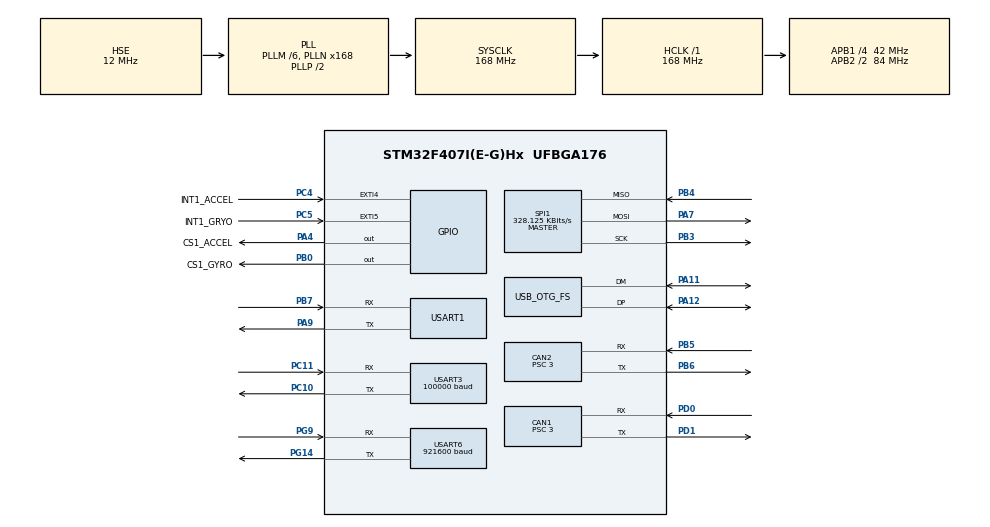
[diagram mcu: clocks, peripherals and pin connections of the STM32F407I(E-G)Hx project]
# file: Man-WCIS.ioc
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CAN1.ABOM=ENABLE
CAN1.AWUM=ENABLE
CAN1.BS1=CAN_BS1_9TQ
CAN1.BS2=CAN_BS2_4TQ
CAN1.CalculateBaudRate=1000000
CAN1.CalculateTimeBit=1000
CAN1.CalculateTimeQuantum=71.42857142857143
CAN1.Prescaler=3
CAN2.ABOM=ENABLE
CAN2.AWUM=ENABLE
CAN2.BS1=CAN_BS1_9TQ
CAN2.BS2=CAN_BS2_4TQ
CAN2.CalculateBaudRate=1000000
CAN2.CalculateTimeBit=1000
CAN2.CalculateTimeQuantum=71.42857142857143
CAN2.Prescaler=3
Dma.Request0=SPI1_RX
Dma.Request1=SPI1_TX
Dma.Request2=USART3_RX
Dma.Request3=USART6_RX
Dma.Request4=USART6_TX
Dma.Request5=USART1_RX
Dma.Request6=USART1_TX
Dma.SPI1_RX.0.Direction=DMA_PERIPH_TO_MEMORY
Dma.SPI1_RX.0.FIFOMode=DMA_FIFOMODE_DISABLE
Dma.SPI1_RX.0.Instance=DMA2_Stream2
Dma.SPI1_RX.0.MemDataAlignment=DMA_MDATAALIGN_BYTE
Dma.SPI1_RX.0.MemInc=DMA_MINC_ENABLE
Dma.SPI1_RX.0.Mode=DMA_NORMAL
Dma.SPI1_RX.0.PeriphDataAlignment=DMA_PDATAALIGN_BYTE
Dma.SPI1_RX.0.PeriphInc=DMA_PINC_DISABLE
Dma.SPI1_RX.0.Priority=DMA_PRIORITY_VERY_HIGH
Dma.SPI1_TX.1.Direction=DMA_MEMORY_TO_PERIPH
Dma.SPI1_TX.1.FIFOMode=DMA_FIFOMODE_DISABLE
Dma.SPI1_TX.1.Instance=DMA2_Stream3
Dma.SPI1_TX.1.MemDataAlignment=DMA_MDATAALIGN_BYTE
Dma.SPI1_TX.1.MemInc=DMA_MINC_ENABLE
Dma.SPI1_TX.1.Mode=DMA_NORMAL
Dma.SPI1_TX.1.PeriphDataAlignment=DMA_PDATAALIGN_BYTE
Dma.SPI1_TX.1.PeriphInc=DMA_PINC_DISABLE
Dma.SPI1_TX.1.Priority=DMA_PRIORITY_HIGH
Dma.USART1_RX.5.Direction=DMA_PERIPH_TO_MEMORY
Dma.USART1_RX.5.FIFOMode=DMA_FIFOMODE_DISABLE
Dma.USART1_RX.5.Instance=DMA2_Stream5
Dma.USART1_RX.5.MemDataAlignment=DMA_MDATAALIGN_BYTE
Dma.USART1_RX.5.MemInc=DMA_MINC_ENABLE
Dma.USART1_RX.5.Mode=DMA_NORMAL
Dma.USART1_RX.5.PeriphDataAlignment=DMA_PDATAALIGN_BYTE
Dma.USART1_RX.5.PeriphInc=DMA_PINC_DISABLE
Dma.USART1_RX.5.Priority=DMA_PRIORITY_LOW
Dma.USART1_TX.6.Direction=DMA_MEMORY_TO_PERIPH
Dma.USART1_TX.6.FIFOMode=DMA_FIFOMODE_DISABLE
Dma.USART1_TX.6.Instance=DMA2_Stream7
Dma.USART1_TX.6.MemDataAlignment=DMA_MDATAALIGN_BYTE
Dma.USART1_TX.6.MemInc=DMA_MINC_ENABLE
Dma.USART1_TX.6.Mode=DMA_NORMAL
Dma.USART1_TX.6.PeriphDataAlignment=DMA_PDATAALIGN_BYTE
Dma.USART1_TX.6.PeriphInc=DMA_PINC_DISABLE
Dma.USART1_TX.6.Priority=DMA_PRIORITY_LOW
Dma.USART3_RX.2.Direction=DMA_PERIPH_TO_MEMORY
Dma.USART3_RX.2.FIFOMode=DMA_FIFOMODE_DISABLE
Dma.USART3_RX.2.Instance=DMA1_Stream1
Dma.USART3_RX.2.MemDataAlignment=DMA_MDATAALIGN_BYTE
Dma.USART3_RX.2.MemInc=DMA_MINC_ENABLE
Dma.USART3_RX.2.Mode=DMA_NORMAL
Dma.USART3_RX.2.PeriphDataAlignment=DMA_PDATAALIGN_BYTE
Dma.USART3_RX.2.PeriphInc=DMA_PINC_DISABLE
Dma.USART3_RX.2.Priority=DMA_PRIORITY_LOW
Dma.USART6_RX.3.Direction=DMA_PERIPH_TO_MEMORY
Dma.USART6_RX.3.FIFOMode=DMA_FIFOMODE_DISABLE
Dma.USART6_RX.3.Instance=DMA2_Stream1
Dma.USART6_RX.3.MemDataAlignment=DMA_MDATAALIGN_BYTE
Dma.USART6_RX.3.MemInc=DMA_MINC_ENABLE
Dma.USART6_RX.3.Mode=DMA_NORMAL
Dma.USART6_RX.3.PeriphDataAlignment=DMA_PDATAALIGN_BYTE
Dma.USART6_RX.3.PeriphInc=DMA_PINC_DISABLE
Dma.USART6_RX.3.Priority=DMA_PRIORITY_HIGH
Dma.USART6_TX.4.Direction=DMA_MEMORY_TO_PERIPH
Dma.USART6_TX.4.FIFOMode=DMA_FIFOMODE_DISABLE
Dma.USART6_TX.4.Instance=DMA2_Stream6
Dma.USART6_TX.4.MemDataAlignment=DMA_MDATAALIGN_BYTE
Dma.USART6_TX.4.MemInc=DMA_MINC_ENABLE
Dma.USART6_TX.4.Mode=DMA_NORMAL
Dma.USART6_TX.4.PeriphDataAlignment=DMA_PDATAALIGN_BYTE
Dma.USART6_TX.4.PeriphInc=DMA_PINC_DISABLE
Dma.USART6_TX.4.Priority=DMA_PRIORITY_HIGH
FREERTOS.Tasks01=INS_task,3,256,Start_INS_Task,As weak,NULL,Dynamic,NULL,NULL;Gimbal_Task,-3,256,Gimbal_Control,As weak,NULL,Dynamic,NULL,NULL;Shoot_Task,-3,256,Shoot_Control,As weak,NULL,Dynamic,NULL,NULL;Vision_Task,3,256,Vision_Control,As weak,NULL,Dynamic,NULL,NULL
FREERTOS.configMINIMAL_STACK_SIZE=256
Mcu.Family=STM32F4
Mcu.Name=STM32F407I(E-G)Hx
Mcu.Package=UFBGA176
NVIC.CAN1_RX0_IRQn=true\:5\:0\:false\:false\:true\:true\:true\:true\:true
NVIC.CAN1_RX1_IRQn=true\:5\:0\:false\:false\:true\:true\:true\:true\:true
NVIC.CAN1_TX_IRQn=true\:5\:0\:false\:false\:true\:true\:true\:true\:true
NVIC.CAN2_RX0_IRQn=true\:5\:0\:false\:false\:true\:true\:true\:true\:true
NVIC.CAN2_RX1_IRQn=true\:5\:0\:false\:false\:true\:true\:true\:true\:true
NVIC.CAN2_TX_IRQn=true\:5\:0\:false\:false\:true\:true\:true\:true\:true
NVIC.DMA1_Stream1_IRQn=true\:5\:0\:false\:false\:true\:true\:false\:true\:true
NVIC.DMA2_Stream1_IRQn=true\:5\:0\:false\:false\:true\:true\:false\:true\:true
NVIC.DMA2_Stream2_IRQn=true\:5\:0\:false\:false\:true\:false\:false\:true\:true
NVIC.DMA2_Stream3_IRQn=true\:5\:0\:false\:false\:true\:true\:false\:true\:true
NVIC.DMA2_Stream5_IRQn=true\:5\:0\:false\:false\:true\:true\:false\:true\:true
NVIC.DMA2_Stream6_IRQn=true\:5\:0\:false\:false\:true\:true\:false\:true\:true
NVIC.DMA2_Stream7_IRQn=true\:5\:0\:false\:false\:true\:true\:false\:true\:true
NVIC.EXTI4_IRQn=true\:5\:0\:false\:false\:true\:false\:true\:true\:true
NVIC.EXTI9_5_IRQn=true\:5\:0\:false\:false\:true\:false\:true\:true\:true
NVIC.OTG_FS_IRQn=true\:5\:0\:false\:false\:true\:true\:false\:true\:true
NVIC.PriorityGroup=NVIC_PRIORITYGROUP_4
NVIC.TIM6_DAC_IRQn=true\:5\:0\:false\:false\:true\:true\:true\:true\:true
NVIC.USART6_IRQn=true\:5\:0\:false\:false\:true\:true\:true\:true\:true
PA11.Mode=Device_Only
PA11.Signal=USB_OTG_FS_DM
PA12.Mode=Device_Only
PA12.Signal=USB_OTG_FS_DP
PA13.Mode=Serial_Wire
PA13.Signal=SYS_JTMS-SWDIO
PA14.Mode=Serial_Wire
PA14.Signal=SYS_JTCK-SWCLK
PA4.GPIO_Label=CS1_ACCEL
PA4.GPIO_PuPd=GPIO_PULLUP
PA4.GPIO_Speed=GPIO_SPEED_FREQ_HIGH
PA4.PinState=GPIO_PIN_SET
PA4.Signal=GPIO_Output
PA7.Mode=Full_Duplex_Master
PA7.Signal=SPI1_MOSI
PA9.Mode=Asynchronous
PA9.Signal=USART1_TX
PB0.GPIO_Label=CS1_GYRO
PB0.GPIO_PuPd=GPIO_PULLUP
PB0.GPIO_Speed=GPIO_SPEED_FREQ_HIGH
PB0.PinState=GPIO_PIN_SET
PB0.Signal=GPIO_Output
PB3.Mode=Full_Duplex_Master
PB3.Signal=SPI1_SCK
PB4.Mode=Full_Duplex_Master
PB4.Signal=SPI1_MISO
PB5.Mode=CAN_Activate
PB5.Signal=CAN2_RX
PB6.Mode=CAN_Activate
PB6.Signal=CAN2_TX
PB7.Mode=Asynchronous
PB7.Signal=USART1_RX
PC10.Mode=Asynchronous
PC10.Signal=USART3_TX
PC11.Mode=Asynchronous
PC11.Signal=USART3_RX
PC14-OSC32_IN.Mode=LSE-External-Oscillator
PC14-OSC32_IN.Signal=RCC_OSC32_IN
PC15-OSC32_OUT.Mode=LSE-External-Oscillator
PC15-OSC32_OUT.Signal=RCC_OSC32_OUT
PC4.GPIO_Label=INT1_ACCEL
PC4.GPIO_PuPd=GPIO_PULLUP
PC4.Signal=GPXTI4
PC5.GPIO_Label=INT1_GRYO
PC5.GPIO_PuPd=GPIO_PULLUP
PC5.Signal=GPXTI5
PD0.Mode=CAN_Activate
PD0.Signal=CAN1_RX
PD1.Mode=CAN_Activate
PD1.Signal=CAN1_TX
PG14.Mode=Asynchronous
PG14.Signal=USART6_TX
PG9.Mode=Asynchronous
PG9.Signal=USART6_RX
PH0-OSC_IN.Mode=HSE-External-Oscillator
PH0-OSC_IN.Signal=RCC_OSC_IN
PH1-OSC_OUT.Mode=HSE-External-Oscillator
PH1-OSC_OUT.Signal=RCC_OSC_OUT
ProjectManager.HeapSize=0x200
ProjectManager.StackSize=0x400
ProjectManager.TargetToolchain=MDK-ARM V5.32
RCC.48MHZClocksFreq_Value=48000000
RCC.AHBFreq_Value=168000000
RCC.APB1CLKDivider=RCC_HCLK_DIV4
RCC.APB1Freq_Value=42000000
RCC.APB1TimFreq_Value=84000000
RCC.APB2CLKDivider=RCC_HCLK_DIV2
RCC.APB2Freq_Value=84000000
RCC.APB2TimFreq_Value=168000000
RCC.CortexFreq_Value=168000000
RCC.HCLKFreq_Value=168000000
RCC.HSE_VALUE=12000000
RCC.HSI_VALUE=16000000
RCC.PLLM=6
RCC.PLLN=168
RCC.PLLQ=7
RCC.SYSCLKFreq_VALUE=168000000
RCC.SYSCLKSource=RCC_SYSCLKSOURCE_PLLCLK
RCC.VCOOutputFreq_Value=336000000
SPI1.BaudRatePrescaler=SPI_BAUDRATEPRESCALER_256
SPI1.CLKPhase=SPI_PHASE_2EDGE
SPI1.CLKPolarity=SPI_POLARITY_HIGH
SPI1.CalculateBaudRate=328.125 KBits/s
SPI1.Direction=SPI_DIRECTION_2LINES
SPI1.Mode=SPI_MODE_MASTER
SPI1.VirtualType=VM_MASTER
TIM6.Period=999
TIM6.Prescaler=8339
USART1.VirtualMode=VM_ASYNC
USART3.BaudRate=100000
USART3.VirtualMode=VM_ASYNC
USART6.BaudRate=921600
USART6.VirtualMode=VM_ASYNC
USB_DEVICE.CLASS_NAME_FS=CDC
USB_DEVICE.VirtualMode-CDC_FS=Cdc
USB_DEVICE.VirtualModeFS=Cdc_FS
USB_OTG_FS.VirtualMode=Device_Only
VP_FREERTOS_VS_CMSIS_V1.Mode=CMSIS_V1
VP_TIM6_VS_ClockSourceINT.Mode=Enable_Timer
VP_USB_DEVICE_VS_USB_DEVICE_CDC_FS.Mode=CDC_FS
board=custom

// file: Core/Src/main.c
/* USER CODE BEGIN Header */
/**
  ******************************************************************************
  * @file           : main.c
  * @brief          : Main program body
  ******************************************************************************
  * @attention
  *
  * Copyright (c) 2024 STMicroelectronics.
  * All rights reserved.
  *
  * This software is licensed under terms that can be found in the LICENSE file
  * in the root directory of this software component.
  * If no LICENSE file comes with this software, it is provided AS-IS.
  *
  ******************************************************************************
  */
/* USER CODE END Header */
#include "main.h"
#include "cmsis_os.h"
#include "can.h"
#include "dma.h"
#include "spi.h"
#include "tim.h"
#include "usart.h"
#include "usb_device.h"
#include "gpio.h"

/* USER CODE BEGIN Includes */
//#include "new_rc.h"
#include "rc.h"
/* USER CODE END Includes */

/* USER CODE BEGIN PD */
extern DMA_HandleTypeDef hdma_usart3_rx;
extern u8 dbus_recieve_1[36],dbus_recieve_2[36];
/* USER CODE END PD */

void SystemClock_Config(void);
void MX_FREERTOS_Init(void);

/* USER CODE BEGIN 0 */
uint8_t BMI_INIT;
//TIM_HandleTypeDef htim6;
/* USER CODE END 0 */

int main(void)
{

  /* MCU Configuration--------------------------------------------------------*/

  /* Reset of all peripherals, Initializes the Flash interface and the Systick. */
  HAL_Init();

  /* Configure the system clock */
  SystemClock_Config();

  /* Initialize all configured peripherals */
  MX_GPIO_Init();
  MX_DMA_Init();
  MX_SPI1_Init();
  MX_CAN1_Init();
  MX_CAN2_Init();
  MX_USART3_UART_Init();
  MX_TIM6_Init();
  MX_USART6_UART_Init();  //
  MX_USART1_UART_Init();  //
  /* USER CODE BEGIN 2 */
	HAL_TIM_Base_Start_IT(&htim6);
	can_filter_init();
	can_driver_init();
	HAL_CAN_ActivateNotification(&hcan1, CAN_IT_RX_FIFO0_MSG_PENDING);              //CAN�ж�ʹ��
	HAL_CAN_ActivateNotification(&hcan2, CAN_IT_RX_FIFO0_MSG_PENDING);
//	Umpire_UsartInit();  // 初始化裁判系统串口和DMA
	USART3_DMA_ENABLE();
  BMI_INIT=BMI088_init();
  while(BMI_INIT)
  {
	  BMI_INIT=BMI088_init();
  }
   Read_Offset();
   MX_USB_DEVICE_Init();

	  extern u8 new_live_3;

  /* USER CODE END 2 */
BSP_USART_Init();
  /* Call init function for freertos objects (in cmsis_os2.c) */
  MX_FREERTOS_Init();

  /* Start scheduler */
  osKernelStart();

  /* We should never get here as control is now taken by the scheduler */

  /* Infinite loop */
  while (1)
  {

  }
}

void SystemClock_Config(void)
{
  RCC_OscInitTypeDef RCC_OscInitStruct = {0};
  RCC_ClkInitTypeDef RCC_ClkInitStruct = {0};

  /** Configure the main internal regulator output voltage
  */
  __HAL_RCC_PWR_CLK_ENABLE();
  __HAL_PWR_VOLTAGESCALING_CONFIG(PWR_REGULATOR_VOLTAGE_SCALE1);

  /** Initializes the RCC Oscillators according to the specified parameters
  * in the RCC_OscInitTypeDef structure.
  */
  RCC_OscInitStruct.OscillatorType = RCC_OSCILLATORTYPE_HSE;
  RCC_OscInitStruct.HSEState = RCC_HSE_ON;
  RCC_OscInitStruct.PLL.PLLState = RCC_PLL_ON;
  RCC_OscInitStruct.PLL.PLLSource = RCC_PLLSOURCE_HSE;
  RCC_OscInitStruct.PLL.PLLM = 6;
  RCC_OscInitStruct.PLL.PLLN = 168;
  RCC_OscInitStruct.PLL.PLLP = RCC_PLLP_DIV2;
  RCC_OscInitStruct.PLL.PLLQ = 7;
  if (HAL_RCC_OscConfig(&RCC_OscInitStruct) != HAL_OK)
  {
    Error_Handler();
  }

  /** Initializes the CPU, AHB and APB buses clocks
  */
  RCC_ClkInitStruct.ClockType = RCC_CLOCKTYPE_HCLK|RCC_CLOCKTYPE_SYSCLK
                              |RCC_CLOCKTYPE_PCLK1|RCC_CLOCKTYPE_PCLK2;
  RCC_ClkInitStruct.SYSCLKSource = RCC_SYSCLKSOURCE_PLLCLK;
  RCC_ClkInitStruct.AHBCLKDivider = RCC_SYSCLK_DIV1;
  RCC_ClkInitStruct.APB1CLKDivider = RCC_HCLK_DIV4;
  RCC_ClkInitStruct.APB2CLKDivider = RCC_HCLK_DIV2;

  if (HAL_RCC_ClockConfig(&RCC_ClkInitStruct, FLASH_LATENCY_5) != HAL_OK)
  {
    Error_Handler();
  }
}

/* USER CODE BEGIN 4 */

int abc;
extern uint8_t get_vis;
 u8 new_live_3;
//extern VT13_ctrl_t VT13_ctrl;
float my_timeDelay;
void HAL_TIM_PeriodElapsedCallback(TIM_HandleTypeDef *htim)
{
if(htim->Instance == htim6.Instance)
{
	abc++;
	my_timeDelay=0.1/get_vis;//100
	get_vis=0;

//	if(new_live_3 > 0)
//	{
//		new_live_3--;
//	}
//	else
//	{
////		VT13_ctrl.off_line_flag = 1;
//	}
}
}

/* USER CODE END 4 */

void Error_Handler(void)
{
  __disable_irq();
  while (1)
  {
  }
}

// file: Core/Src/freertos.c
/* USER CODE BEGIN Header */
/**
  ******************************************************************************
  * File Name          : freertos.c
  * Description        : Code for freertos applications
  ******************************************************************************
  * @attention
  *
  * Copyright (c) 2024 STMicroelectronics.
  * All rights reserved.
  *
  * This software is licensed under terms that can be found in the LICENSE file
  * in the root directory of this software component.
  * If no LICENSE file comes with this software, it is provided AS-IS.
  *
  ******************************************************************************
  */
/* USER CODE END Header */

#include "FreeRTOS.h"
#include "task.h"
#include "main.h"
#include "cmsis_os.h"

osThreadId INS_taskHandle;
osThreadId Gimbal_TaskHandle;
osThreadId Shoot_TaskHandle;
osThreadId Vision_TaskHandle;

void Start_INS_Task(void const * argument);
void Gimbal_Control(void const * argument);
void Shoot_Control(void const * argument);
void Vision_Control(void const * argument);

extern void MX_USB_DEVICE_Init(void);
void MX_FREERTOS_Init(void); /* (MISRA C 2004 rule 8.1) */

/* GetIdleTaskMemory prototype (linked to static allocation support) */
void vApplicationGetIdleTaskMemory( StaticTask_t **ppxIdleTaskTCBBuffer, StackType_t **ppxIdleTaskStackBuffer, uint32_t *pulIdleTaskStackSize );

/* USER CODE BEGIN GET_IDLE_TASK_MEMORY */
static StaticTask_t xIdleTaskTCBBuffer;
static StackType_t xIdleStack[configMINIMAL_STACK_SIZE];

void vApplicationGetIdleTaskMemory( StaticTask_t **ppxIdleTaskTCBBuffer, StackType_t **ppxIdleTaskStackBuffer, uint32_t *pulIdleTaskStackSize )
{
  *ppxIdleTaskTCBBuffer = &xIdleTaskTCBBuffer;
  *ppxIdleTaskStackBuffer = &xIdleStack[0];
  *pulIdleTaskStackSize = configMINIMAL_STACK_SIZE;
  /* place for user code */
}
/* USER CODE END GET_IDLE_TASK_MEMORY */

void MX_FREERTOS_Init(void) {

  /* Create the thread(s) */
  /* definition and creation of INS_task */
  osThreadDef(INS_task, Start_INS_Task, osPriorityRealtime, 0, 256);
  INS_taskHandle = osThreadCreate(osThread(INS_task), NULL);

  /* definition and creation of Gimbal_Task */
  osThreadDef(Gimbal_Task, Gimbal_Control, osPriorityIdle, 0, 256);
  Gimbal_TaskHandle = osThreadCreate(osThread(Gimbal_Task), NULL);

  /* definition and creation of Shoot_Task */
  osThreadDef(Shoot_Task, Shoot_Control, osPriorityIdle, 0, 256);
  Shoot_TaskHandle = osThreadCreate(osThread(Shoot_Task), NULL);

  /* definition and creation of Vision_Task */
  osThreadDef(Vision_Task, Vision_Control, osPriorityRealtime, 0, 256);
  Vision_TaskHandle = osThreadCreate(osThread(Vision_Task), NULL);

}

__weak void Start_INS_Task(void const * argument)
{
  /* init code for USB_DEVICE */
  MX_USB_DEVICE_Init();
  for(;;)
  {
    osDelay(1);
  }
}

__weak void Gimbal_Control(void const * argument)
{
  for(;;)
  {
    osDelay(1);
  }
}

__weak void Shoot_Control(void const * argument)
{
  for(;;)
  {
    osDelay(1);
  }
}

__weak void Vision_Control(void const * argument)
{
  for(;;)
  {
    osDelay(1);
  }
}
